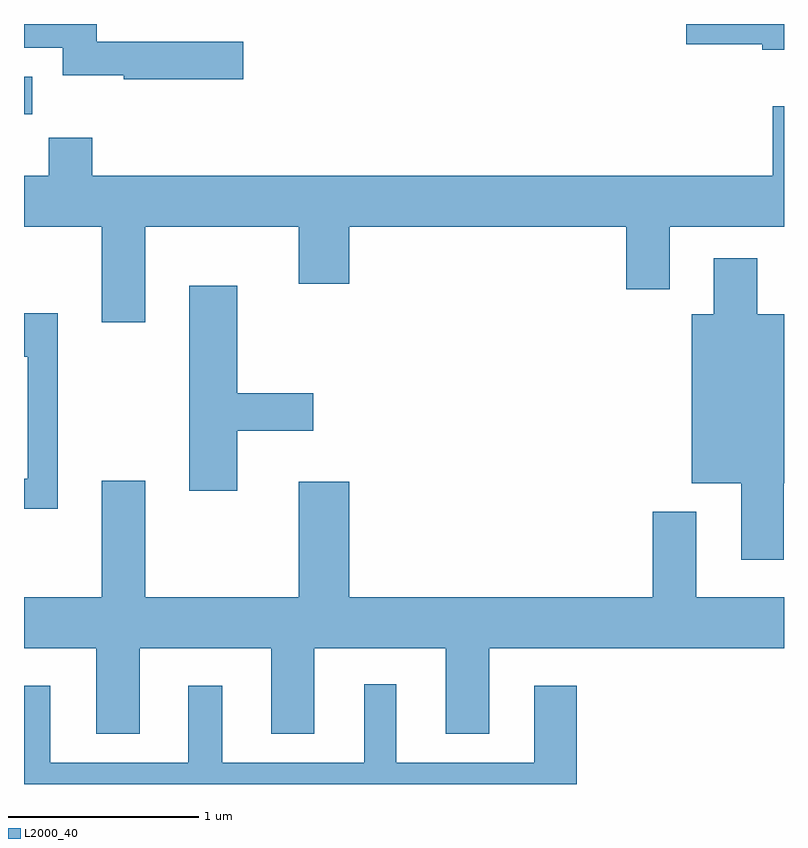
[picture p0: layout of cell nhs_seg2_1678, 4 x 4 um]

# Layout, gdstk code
import gdstk
lib = gdstk.Library(unit=1e-6, precision=1e-09)
def R(c, l, rs):  # rectangles x0, y0, x1, y1
    for r in rs: c.add(gdstk.rectangle(r[:2], r[2:], *l))
def P(c, l, *ps):  # polygons
    for p in ps: c.add(gdstk.Polygon(p, *l))
L2000_40 = (2000, 40)

nhs_seg2_1678 = lib.new_cell('nhs_seg2_1678')
R(nhs_seg2_1678, L2000_40, [(233.611,1073.326,233.654,1073.524)])
P(nhs_seg2_1678, L2000_40, [(237.611,1073.802),(237.096,1073.802),(237.096,1073.696),(237.496,1073.696),(237.496,1073.666),(237.611,1073.666)],
  [(234.764,1073.709),(233.994,1073.709),(233.994,1073.802),(233.611,1073.802),(233.611,1073.676),(233.816,1073.676),(233.816,1073.531),(234.136,1073.531),(234.136,1073.511),(234.764,1073.511)],
  [(233.969,1073.204),(233.741,1073.204),(233.741,1073.004),(233.611,1073.004),(233.611,1072.736),(234.021,1072.736),(234.021,1072.231),(234.249,1072.231),(234.249,1072.736),(235.056,1072.736),(235.056,1072.436),(235.324,1072.436),(235.324,1072.736),(236.781,1072.736),(236.781,1072.406),(237.009,1072.406),(237.009,1072.736),(237.611,1072.736),(237.611,1073.368),(237.551,1073.368),(237.551,1073.004),(233.969,1073.004)],
  [(237.609,1071.386),(237.611,1071.386),(237.611,1072.274),(237.469,1072.274),(237.469,1072.569),(237.241,1072.569),(237.241,1072.274),(237.126,1072.274),(237.126,1071.386),(237.386,1071.386),(237.386,1070.981),(237.609,1070.981)],
  [(234.734,1071.661),(235.134,1071.661),(235.134,1071.859),(234.734,1071.859),(234.734,1072.424),(234.481,1072.424),(234.481,1071.346),(234.734,1071.346)],
  [(233.789,1072.279),(233.611,1072.279),(233.611,1072.051),(233.631,1072.051),(233.631,1071.409),(233.611,1071.409),(233.611,1071.251),(233.789,1071.251)],
  [(235.056,1070.784),(234.249,1070.784),(234.249,1071.399),(234.021,1071.399),(234.021,1070.784),(233.611,1070.784),(233.611,1070.516),(233.991,1070.516),(233.991,1070.066),(234.219,1070.066),(234.219,1070.516),(234.911,1070.516),(234.911,1070.066),(235.139,1070.066),(235.139,1070.516),(235.831,1070.516),(235.831,1070.066),(236.059,1070.066),(236.059,1070.516),(237.611,1070.516),(237.611,1070.784),(237.149,1070.784),(237.149,1071.234),(236.921,1071.234),(236.921,1070.784),(235.324,1070.784),(235.324,1071.394),(235.056,1071.394)],
  [(236.519,1070.319),(236.296,1070.319),(236.296,1069.914),(235.569,1069.914),(235.569,1070.328),(235.401,1070.328),(235.401,1069.914),(234.654,1069.914),(234.654,1070.319),(234.476,1070.319),(234.476,1069.914),(233.749,1069.914),(233.749,1070.319),(233.611,1070.319),(233.611,1069.802),(236.519,1069.802)])

lib.write_gds('nhs_seg2_1678.gds')
